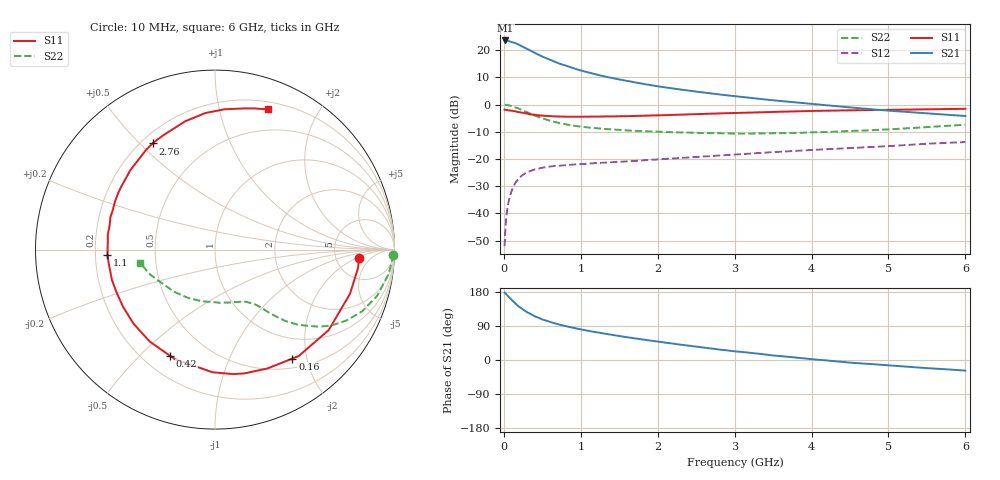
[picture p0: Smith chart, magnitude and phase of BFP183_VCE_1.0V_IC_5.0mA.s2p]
! Infineon Technologies  Discrete & RF Semiconductors
! BFP183
! VCE = 1.0 V,  IC =  5.0 mA
! Common Emitter S-Parameters:  Jan 2016
# GHz  S  MA  R  50
!  f  S11  S21  S12  S22
! GHz  MAG  ANG  MAG  ANG  MAG  ANG  MAG  ANG
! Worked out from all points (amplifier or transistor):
!   210 points, 10 MHz to 6 GHz, reference 50 ohm
!   highest |S21| = 23.5 dB at 20 MHz (marker M1)
!   |S21| within 3 dB of that: start of sweep to 297 MHz
!   unconditionally stable (mu >= 1): 1.458 GHz to end of sweep
!   at 185 MHz: K = 0.17, MSG = 24.8 dB, |S12| = -27.5 dB
!   at 1.52 GHz: K = 1.02, MAG = 14.1 dB, |S12| = -21.1 dB
!   at 6 GHz: K = 1.02, MAG = 3.9 dB, |S12| = -13.8 dB
!   S11 on the Smith chart (normalised r, x): 10 MHz: 8.53, -2.37; 160 MHz: 0.64, -1.75; 420 MHz: 0.31, -0.62; 1.1 GHz: 0.25, -0.02; 2.76 GHz: 0.24, +0.55; 6 GHz: 0.27, +1.41
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0.01  0.8038 -3.5  14.91 178.1  0.0025 86.8  0.9921 -1.6
0.02  0.8034 -7.3  15.03 176.1  0.0051 84.7  0.9894 -3.3
0.05  0.7914 -18.2  14.86 169.0  0.0137 82.7  0.9762 -8.1
0.1  0.776 -35.3  14.13 158.6  0.0256 71.1  0.9402 -15.8
0.16  0.7446 -54.6  13.22 147.1  0.0381 63.0  0.8775 -23.8
0.2  0.7238 -66.2  12.46 140.3  0.0449 57.9  0.8327 -28.3
0.24  0.7091 -76.5  11.62 134.4  0.0501 53.1  0.7867 -32.0
0.3  0.6837 -91.1  10.59 126.4  0.0572 47.9  0.7185 -36.7
0.42  0.6421 -113.1  8.64 113.9  0.0651 39.8  0.6116 -42.7
0.5  0.6284 -125.2  7.577 107.0  0.0691 36.2  0.5566 -45.5
0.6  0.6137 -137.6  6.634 100.3  0.0729 33.1  0.5038 -47.7
0.7  0.6034 -148.0  5.79 94.5  0.0749 31.1  0.463 -49.4
0.8  0.5982 -156.6  5.191 89.4  0.0766 29.8  0.4331 -50.6
1.02  0.5971 -172.2  4.151 80.0  0.0805 27.6  0.3893 -53.0
1.1  0.6001 -177.2  3.877 76.7  0.0822 27.2  0.3776 -53.9
1.5  0.6098 163.0  2.888 63.1  0.0882 27.3  0.3404 -58.8
2.02  0.6332 142.7  2.14 48.0  0.0986 27.7  0.3168 -67.3
2.76  0.6858 120.4  1.556 28.7  0.1146 27.8  0.2977 -84.0
3.1  0.7042 111.9  1.376 21.1  0.1229 27.4  0.2925 -93.1
4.1  0.7657 92.4  0.997 0.5  0.1487 23.9  0.3101 -122.2
5.1  0.8019 78.7  0.755 -15.5  0.1754 19.6  0.3555 -149.8
6  0.8348 69.3  0.615 -28.0  0.2044 12.7  0.4253 -170.2
